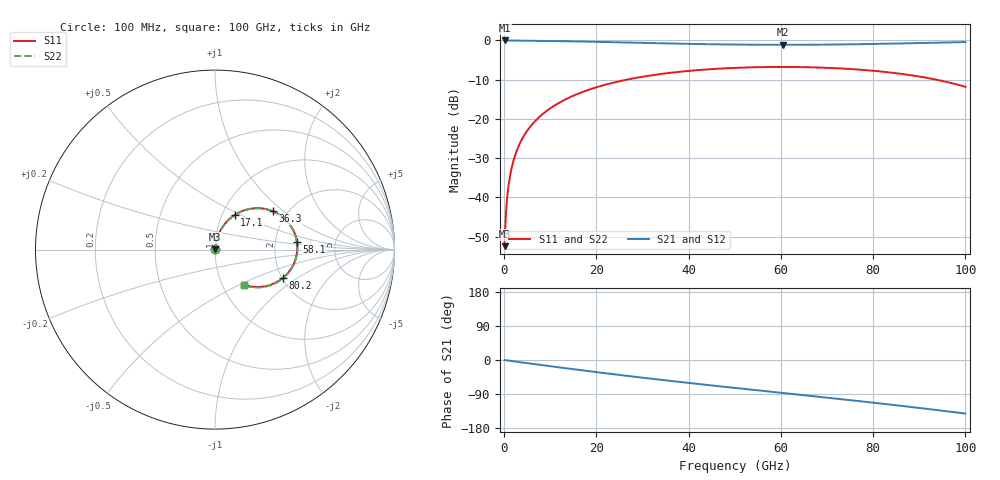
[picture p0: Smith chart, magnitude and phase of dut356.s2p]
! Touchstone file exported from HFSS 2026.1.0
!  File:  C:/ffzhzh/LocalFiles/Ansys_Project_Files/temp_train_RDL_356_1783503302_55944.aedt
!  Generated:  05:36:25 PM Jul  8, 2026
!  Design:  RDL
!  Project:  temp_train_RDL_356_1783503302_55944
! Variables:
!  h_bsmrdl = 2um
!  h_ox = 20um
!  h_rdl = 5um
!  h_sub = 80um
!  h_tmrdl = 4.03um
!  h_tsv = 80um
!  h_via = 3um
!  l_bsmrdl = 300um
!  l_sub = 874.53um
!  l_tmrdl = 474.53um
!  m_sub = 200um
!  pitch = 50.28um
!  r_tsv = 6um
!  s_tmrdl = 10um
!  w_bsmrdl = 18um
!  w_sub = 500um
!  w_tmrdl = 27.97um
!  x_tsv_center1 = 488.515um
!  x_tsv_center2 = 806.515um
!  x_tsv_center3 = 1309.015um
!  x_tsv_center4 = 1627.015um
!  x_tsv_center5 = 2129.515um
!  x_tsv_center6 = 2447.515um
# GHz S MA R 50.000000
! Terminal data exported
! Port[1] = TM_RDL1_1_T1
! Port[2] = TM_RDL1_1_T2
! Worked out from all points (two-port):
!   1000 points, 100 MHz to 100 GHz, reference 50 ohm
!   highest |S21| = -0.01 dB at 100 MHz (marker M1); lowest = -1.1 dB at 60.4 GHz (marker M2)
!   |S21| within 3 dB of the highest: start of sweep to end of sweep
!   lowest |S11| = -52.5 dB at 100 MHz (marker M3), VSWR 1.00, Z = 50.2 + j0.164 ohm
!   |S11| at or under -10 dB: start of sweep to 26.61 GHz; 93.66 GHz to end of sweep
!   |S22| runs from -52.5 to -6.8 dB; largest |S21 - S12| = 1.6e-14
!   S11 on the Smith chart (normalised r, x): 100 MHz: 1.00, +0.00; 17.1 GHz: 1.14, +0.46; 36.3 GHz: 1.69, +0.85; 58.1 GHz: 2.66, +0.28; 80.2 GHz: 2.01, -0.77; 100 GHz: 1.27, -0.53
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0.1  0.002382 43.5  0.9983 -0.2  0.9983 -0.2  0.002382 43.5
! Gamma 0 0 0 0
! Port Impedance 50 0 50 0
0.8  0.01194 77.7  0.9977 -1.4  0.9977 -1.4  0.01195 77.7
1.1  0.01616 79.8  0.9975 -1.9  0.9975 -1.9  0.01616 79.8
1.4  0.02041 80.8  0.9974 -2.4  0.9974 -2.4  0.02041 80.8
2.5  0.03597 81.3  0.9965 -4.2  0.9965 -4.2  0.03597 81.3
4  0.05689 79.8  0.9949 -6.7  0.9949 -6.7  0.05689 79.8
6.1  0.08543 76.9  0.9918 -10.1  0.9918 -10.1  0.08543 76.8
8.9  0.1222 72.7  0.9868 -14.6  0.9868 -14.6  0.1222 72.7
12.5  0.1674 67.3  0.9791 -20.4  0.9791 -20.4  0.1674 67.3
16.8  0.2179 60.9  0.9682 -27.1  0.9682 -27.1  0.2179 60.8
17.1  0.2212 60.5  0.9674 -27.6  0.9674 -27.6  0.2213 60.4
24.4  0.2963 49.8  0.9463 -38.6  0.9463 -38.6  0.2963 49.7
33.4  0.3692 37.3  0.9198 -51.5  0.9198 -51.5  0.3692 37.1
36.3  0.3879 33.3  0.912 -55.5  0.912 -55.5  0.388 33.1
50.1  0.4465 15.4  0.8848 -73.8  0.8848 -73.8  0.4466 15.1
58.1  0.4585 5.3  0.8787 -84.1  0.8787 -84.1  0.4586 4.9
60.4  0.459 2.4  0.8783 -87.0  0.8783 -87.0  0.4591 2.0
66.7  0.4539 -5.5  0.8808 -95.1  0.8808 -95.1  0.454 -5.9
80.2  0.4091 -22.9  0.901 -112.9  0.901 -112.9  0.4093 -23.4
83.4  0.3915 -27.1  0.9083 -117.2  0.9083 -117.2  0.3916 -27.7
91.7  0.3327 -38.5  0.9299 -129.0  0.9299 -129.0  0.3329 -39.1
100  0.2561 -50.2  0.952 -141.4  0.952 -141.4  0.2562 -50.9
